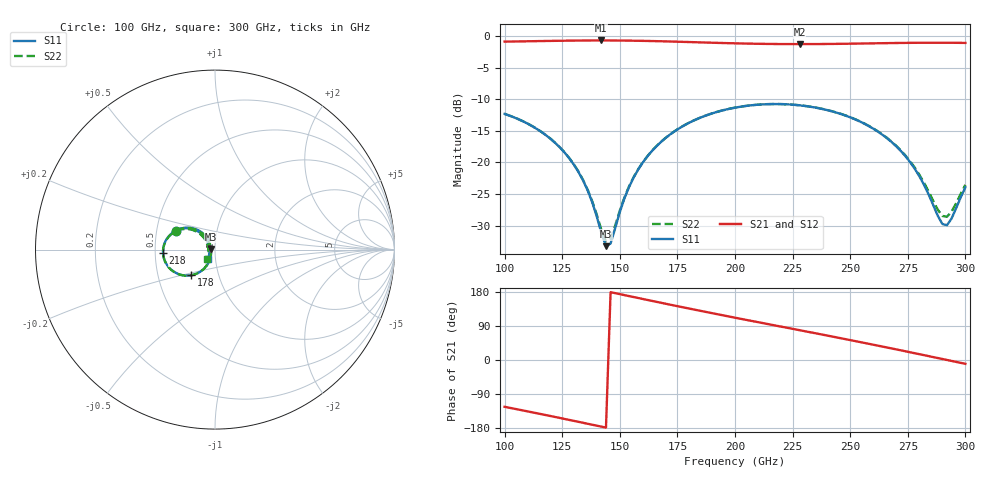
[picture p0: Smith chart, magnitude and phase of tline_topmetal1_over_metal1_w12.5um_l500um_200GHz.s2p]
#  GHZ S DB R 50
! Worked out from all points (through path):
!   101 points, 100 GHz to 300 GHz, reference 50 ohm
!   highest |S21| = -0.69 dB at 142 GHz (marker M1); lowest = -1.3 dB at 228 GHz (marker M2)
!   group delay of S21, straight-line fit = 3.4 ps
!   lowest |S11| = -33.2 dB at 144 GHz (marker M3), VSWR 1.04, Z = 47.9 + j0.274 ohm
!   |S11| at or under -10 dB: start of sweep to end of sweep
!   |S22| runs from -32.5 to -10.7 dB; largest |S21 - S12| = 1.5e-13
!   S11 on the Smith chart (normalised r, x): 100 GHz: 0.63, +0.14; 178 GHz: 0.73, -0.22; 218 GHz: 0.55, -0.02; 300 GHz: 0.92, -0.09
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100  -12.31 154.0  -0.87 -123.5  -0.87 -123.5  -12.31 154.6
120  -16.28 132.7  -0.76 -148.0  -0.76 -148.0  -16.26 133.8
128  -19.30 126.2  -0.72 -158.0  -0.72 -158.0  -19.27 127.6
134  -22.80 124.5  -0.70 -165.6  -0.70 -165.6  -22.72 126.4
138  -26.27 128.3  -0.69 -170.8  -0.69 -170.8  -26.10 130.9
142  -31.15 147.5  -0.69 -175.9  -0.69 -175.9  -30.67 150.5
144  -33.25 172.5  -0.69 -178.5  -0.69 -178.5  -32.48 174.0
146  -32.82 -156.1  -0.69 179.0  -0.69 179.0  -32.12 -157.3
152  -25.69 -119.3  -0.71 171.3  -0.71 171.3  -25.54 -120.8
156  -22.39 -116.4  -0.73 166.1  -0.73 166.1  -22.32 -117.3
168  -16.71 -123.3  -0.82 150.9  -0.82 150.9  -16.69 -123.5
178  -14.12 -133.2  -0.92 138.4  -0.92 138.4  -14.11 -133.1
200  -11.33 -157.0  -1.14 111.7  -1.14 111.7  -11.32 -156.5
218  -10.76 -176.4  -1.25 90.4  -1.25 90.4  -10.74 -175.6
228  -10.96 173.0  -1.27 78.7  -1.27 78.7  -10.94 173.9
234  -11.26 166.6  -1.26 71.6  -1.26 71.6  -11.24 167.7
252  -13.15 148.1  -1.19 50.1  -1.19 50.1  -13.13 149.6
268  -16.78 133.8  -1.10 30.5  -1.10 30.5  -16.71 136.1
278  -20.98 130.0  -1.06 17.9  -1.06 17.9  -20.80 133.5
290  -29.73 170.2  -1.05 2.6  -1.05 2.6  -28.46 173.0
294  -28.87 -151.3  -1.06 -2.5  -1.06 -2.5  -27.78 -154.1
300  -23.92 -127.0  -1.08 -10.1  -1.08 -10.1  -23.53 -130.3
